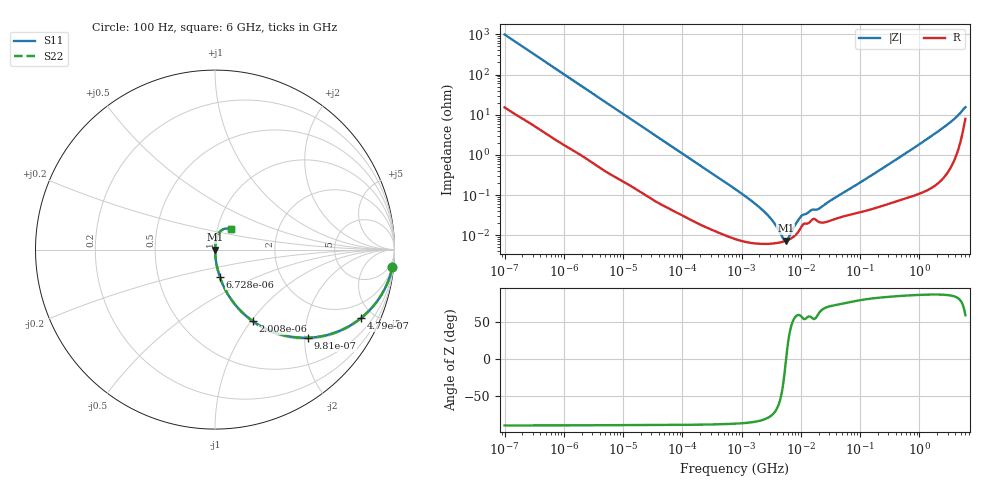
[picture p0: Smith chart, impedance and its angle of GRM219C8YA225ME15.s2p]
!Murata Part Number: GRM219C8YA225ME15
!These Parameters are Measured in Series Mode Connection
!Data Generated on Mar 30, 2021
!  o--ll--o
!Port1  Port2
!  o------o
!Operation Temp=25[degC], DC Bias Voltage=0[V]
!Freq. Start=100[Hz] Stop=6[GHz] 401[Steps]
# Hz S RI R 50
!Freq.(Hz) S11(Real) S11(Imag) S21(Real) S21(Imag) S12(Real) S12(Imag) S22(Real) S22(Imag)
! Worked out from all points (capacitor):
!   401 points, 100 Hz to 6 GHz, reference 50 ohm
!   read as one part in series: C = 1.59 uF near 109 Hz
!   lowest |Z| = 7.28 mohm at 5.555 MHz (marker M1)
!   series resonance near 5.638 MHz, so ESL is about 500 pH
!   S11 on the Smith chart (normalised r, x): 100 Hz: 1, -20; 479 Hz: 1.07, -4.22; 981 Hz: 1.04, -2.08; 2.008 kHz: 1.02, -1.02; 6.728 kHz: 1.01, -0.31; 6 GHz: 1.16, +0.26
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100  0.9885 -0.0991  0.0115 0.0991  0.0115 0.0991  0.9885 -0.0991
245  0.9407 -0.2283  0.0593 0.2283  0.0593 0.2283  0.9407 -0.2283
479  0.8129 -0.3817  0.1871 0.3817  0.1871 0.3817  0.8129 -0.3817
981  0.519 -0.4911  0.481 0.4911  0.481 0.4911  0.519 -0.4911
2008  0.2121 -0.3996  0.7879 0.3996  0.7879 0.3996  0.2121 -0.3996
3437  0.0874 -0.2733  0.9126 0.2733  0.9126 0.2733  0.0874 -0.2733
6728  0.0263 -0.1504  0.9737 0.1504  0.9737 0.1504  0.0263 -0.1504
14402  0.00688 -0.0725  0.9931 0.0725  0.9931 0.0725  0.00688 -0.0725
40335  0.00132 -0.0264  0.9987 0.0264  0.9987 0.0264  0.00132 -0.0264
774597  8.26e-05 -0.00142  0.9999 0.00142  0.9999 0.00142  8.26e-05 -0.00142
2268635  6.11e-05 -0.000418  0.9999 0.000418  0.9999 0.000418  6.11e-05 -0.000418
3245845  6.2e-05 -0.000234  0.9999 0.000234  0.9999 0.000234  6.2e-05 -0.000234
4643984  6.72e-05 -7.9e-05  0.9999 7.9e-05  0.9999 7.9e-05  6.72e-05 -7.9e-05
5554849  7.25e-05 -6e-06  0.9999 6e-06  0.9999 6e-06  7.25e-05 -6e-06
6644369  8.14e-05 6.79e-05  0.9999 -6.79e-05  0.9999 -6.79e-05  8.14e-05 6.79e-05
9941735  0.000151 0.000246  0.9998 -0.000246  0.9998 -0.000246  0.000151 0.000246
1.555665e7  0.000246 0.000356  0.9998 -0.000356  0.9998 -0.000356  0.000246 0.000356
2.035112e7  0.000214 0.000409  0.9998 -0.000409  0.9998 -0.000409  0.000214 0.000409
3.124326e8  0.000646 0.00593  0.9994 -0.00593  0.9994 -0.00593  0.000646 0.00593
2.34314e9  0.00421 0.0435  0.9958 -0.0435  0.9958 -0.0435  0.00421 0.0435
4.385646e9  0.0195 0.089  0.9805 -0.089  0.9805 -0.089  0.0195 0.089
6e9  0.087 0.1121  0.913 -0.1121  0.913 -0.1121  0.087 0.1121
